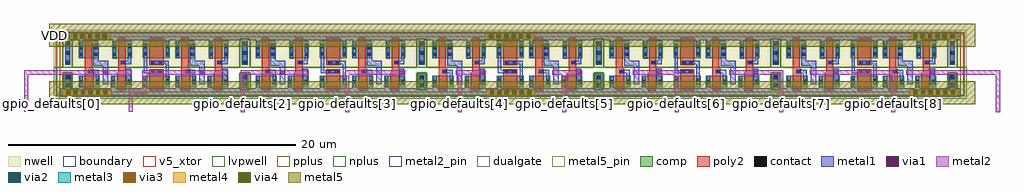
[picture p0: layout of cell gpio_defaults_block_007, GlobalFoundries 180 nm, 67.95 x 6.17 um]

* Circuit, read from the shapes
.subckt gpio_defaults_block_007 VDD VSS gpio_defaults[0] gpio_defaults[1] gpio_defaults[2] gpio_defaults[3] gpio_defaults[4] gpio_defaults[5] gpio_defaults[6] gpio_defaults[7] gpio_defaults[8] gpio_defaults[9]
XM1 n1 n1 VSS VSS nfet_05v0 w=0.82u l=0.6u
XM2 TIEL_7T5P0_3/ZN n2 VSS VSS nfet_05v0 w=0.82u l=0.6u
XM3 n3 n4 VSS VSS nfet_05v0 w=0.82u l=1u
XM4 n5 n5 VSS VSS nfet_05v0 w=0.82u l=0.6u
XM5 TIEL_7T5P0_5/ZN n6 VSS VSS nfet_05v0 w=0.82u l=0.6u
XM6 n7 n7 VSS VSS nfet_05v0 w=0.82u l=0.6u
XM7 TIEL_7T5P0_9/ZN n8 VSS VSS nfet_05v0 w=0.82u l=0.6u
XM8 n9 n10 VSS VSS nfet_05v0 w=0.82u l=1u
XM9 n11 n11 VSS VSS nfet_05v0 w=0.82u l=0.6u
XM10 gpio_defaults[3] n12 VSS VSS nfet_05v0 w=0.82u l=0.6u
XM11 n13 n13 VSS VSS nfet_05v0 w=0.82u l=0.6u
XM12 gpio_defaults[4] n14 VSS VSS nfet_05v0 w=0.82u l=0.6u
XM13 n15 n16 VSS VSS nfet_05v0 w=0.82u l=1u
XM14 n17 n17 VSS VSS nfet_05v0 w=0.82u l=0.6u
XM15 gpio_defaults[5] n18 VSS VSS nfet_05v0 w=0.82u l=0.6u
XM16 n19 n19 VSS VSS nfet_05v0 w=0.82u l=0.6u
XM17 gpio_defaults[6] n20 VSS VSS nfet_05v0 w=0.82u l=0.6u
XM18 n21 n22 VSS VSS nfet_05v0 w=0.82u l=1u
XM19 n23 n23 VSS VSS nfet_05v0 w=0.82u l=0.6u
XM20 gpio_defaults[7] n24 VSS VSS nfet_05v0 w=0.82u l=0.6u
XM21 n25 n25 VSS VSS nfet_05v0 w=0.82u l=0.6u
XM22 gpio_defaults[8] n26 VSS VSS nfet_05v0 w=0.82u l=0.6u
XM23 n27 n28 VSS VSS nfet_05v0 w=0.82u l=1u
XM24 n29 n29 VSS VSS nfet_05v0 w=0.82u l=0.6u
XM25 gpio_defaults[9] n30 VSS VSS nfet_05v0 w=0.82u l=0.6u
XM26 gpio_defaults[0] n1 VDD VDD pfet_05v0 w=1.22u l=0.5u
XM27 n2 n2 VDD VDD pfet_05v0 w=1.22u l=0.5u
XM28 VDD n3 n4 VDD pfet_05v0 w=1.22u l=1u
XM29 gpio_defaults[1] n5 VDD VDD pfet_05v0 w=1.22u l=0.5u
XM30 n6 n6 VDD VDD pfet_05v0 w=1.22u l=0.5u
XM31 gpio_defaults[2] n7 VDD VDD pfet_05v0 w=1.22u l=0.5u
XM32 n8 n8 VDD VDD pfet_05v0 w=1.22u l=0.5u
XM33 VDD n9 n10 VDD pfet_05v0 w=1.22u l=1u
XM34 TIEH_7T5P0_10/Z n11 VDD VDD pfet_05v0 w=1.22u l=0.5u
XM35 n12 n12 VDD VDD pfet_05v0 w=1.22u l=0.5u
XM36 TIEH_7T5P0_13/Z n13 VDD VDD pfet_05v0 w=1.22u l=0.5u
XM37 n14 n14 VDD VDD pfet_05v0 w=1.22u l=0.5u
XM38 VDD n15 n16 VDD pfet_05v0 w=1.22u l=1u
XM39 TIEH_7T5P0_16/Z n17 VDD VDD pfet_05v0 w=1.22u l=0.5u
XM40 n18 n18 VDD VDD pfet_05v0 w=1.22u l=0.5u
XM41 TIEH_7T5P0_19/Z n19 VDD VDD pfet_05v0 w=1.22u l=0.5u
XM42 n20 n20 VDD VDD pfet_05v0 w=1.22u l=0.5u
XM43 VDD n21 n22 VDD pfet_05v0 w=1.22u l=1u
XM44 TIEH_7T5P0_22/Z n23 VDD VDD pfet_05v0 w=1.22u l=0.5u
XM45 n24 n24 VDD VDD pfet_05v0 w=1.22u l=0.5u
XM46 TIEH_7T5P0_25/Z n25 VDD VDD pfet_05v0 w=1.22u l=0.5u
XM47 n26 n26 VDD VDD pfet_05v0 w=1.22u l=0.5u
XM48 VDD n27 n28 VDD pfet_05v0 w=1.22u l=1u
XM49 TIEH_7T5P0_28/Z n29 VDD VDD pfet_05v0 w=1.22u l=0.5u
XM50 n30 n30 VDD VDD pfet_05v0 w=1.22u l=0.5u
.ends

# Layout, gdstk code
import gdstk
lib = gdstk.Library(unit=1e-6, precision=1e-09)
def R(c, l, rs):  # rectangles x0, y0, x1, y1
    for r in rs: c.add(gdstk.rectangle(r[:2], r[2:], *l))
def A(c, l, x, y, w, h, nx, ny, dx, dy):  # array of equal rectangles
    R(c, l, [(x+i*dx, y+j*dy, x+i*dx+w, y+j*dy+h) for i in range(nx) for j in range(ny)])
def P(c, l, *ps):  # polygons
    for p in ps: c.add(gdstk.Polygon(p, *l))
boundary = (0, 0)
nwell = (21, 0)
comp = (22, 0)
poly2 = (30, 0)
pplus = (31, 0)
nplus = (32, 0)
contact = (33, 0)
metal1 = (34, 0)
via1 = (35, 0)
metal2 = (36, 0)
metal2_pin = (36, 10)
via2 = (38, 0)
via3 = (40, 0)
via4 = (41, 0)
metal3 = (42, 0)
metal4 = (46, 0)
dualgate = (55, 0)
metal5 = (81, 0)
metal5_pin = (81, 10)
v5_xtor = (112, 1)
lvpwell = (204, 0)

endcap_7t5p0 = lib.new_cell('ENDCAP_7T5P0')
R(endcap_7t5p0, boundary, [(0,0,1.12,3.92)])
R(endcap_7t5p0, nwell, [(-0.43,1.76,1.55,4.35)])
R(endcap_7t5p0, comp, [(0.28,0.28,0.8,1.28), (0.36,1.92,0.72,3.56)])
R(endcap_7t5p0, pplus, [(0.2,0.2,0.88,1.36)])
P(endcap_7t5p0, pplus, [(-0.2,1.76),(0.2,1.76),(0.2,3.72),(0.88,3.72),(0.88,1.76),(1.32,1.76),(1.32,4.12),(-0.2,4.12)])
P(endcap_7t5p0, nplus, [(-0.2,-0.2),(1.32,-0.2),(1.32,1.76),(0.88,1.76),(0.88,3.72),(0.88,1.36),(0.88,0.2),(0.2,0.2),(0.2,1.36),(0.88,1.36),(0.88,3.72),(0.2,3.72),(0.2,1.76),(-0.2,1.76)])
A(endcap_7t5p0, contact, 0.43, 1.99, 0.22, 0.22, 1, 3, 0, 0.64)
R(endcap_7t5p0, contact, [(0.43,0.4,0.65,0.62), (0.43,0.905,0.65,1.125)])
P(endcap_7t5p0, metal1, [(0,-0.3),(1.12,-0.3),(1.12,0.3),(0.71,0.3),(0.71,1.19),(0.37,1.19),(0.37,0.3),(0,0.3)],
  [(0,3.62),(0.37,3.62),(0.37,1.92),(0.71,1.92),(0.71,3.62),(1.12,3.62),(1.12,4.22),(0,4.22)])
R(endcap_7t5p0, dualgate, [(-0.28,-0.28,1.4,4.2)])
R(endcap_7t5p0, v5_xtor, [(0,0,1.12,3.92)])
R(endcap_7t5p0, lvpwell, [(-0.43,-0.43,1.55,1.76)])
endcap_7t5p0.add(gdstk.Label('VSS', (0.56,-0.01), layer=34, texttype=10))
endcap_7t5p0.add(gdstk.Label('VDD', (0.56,3.935), layer=34, texttype=10))
endcap_7t5p0.add(gdstk.Label('& Vendor GLOBALFOUNDRIES', (0,2), layer=63, texttype=63))
endcap_7t5p0.add(gdstk.Label('& Product GF018hv5v_mcu_sc7', (0,1.5), layer=63, texttype=63))
endcap_7t5p0.add(gdstk.Label('& Version 2015q2v1', (0,1), layer=63, texttype=63))
endcap_7t5p0.add(gdstk.Label('& Metric 1.00', (0,0.5), layer=63, texttype=63))

tieh_7t5p0 = lib.new_cell('TIEH_7T5P0')
R(tieh_7t5p0, boundary, [(0,0,2.24,3.92)])
R(tieh_7t5p0, nwell, [(-0.43,1.76,2.67,4.35)])
R(tieh_7t5p0, comp, [(0.185,0.34,1.665,1.16), (0.185,2.36,1.565,3.58)])
P(tieh_7t5p0, poly2, [(0.625,0.12),(1.225,0.12),(1.225,1.635),(1.125,1.635),(1.125,3.8),(0.625,3.8)])
R(tieh_7t5p0, pplus, [(-0.2,1.76,2.44,4.12)])
R(tieh_7t5p0, nplus, [(-0.2,-0.2,2.44,1.76)])
R(tieh_7t5p0, contact, [(0.255,0.635,0.475,0.855), (1.375,0.65,1.595,0.87), (0.935,1.345,1.155,1.565), (0.255,2.55,0.475,2.77), (1.275,2.55,1.495,2.77), (0.255,3.02,0.475,3.24), (1.275,3.02,1.495,3.24)])
R(tieh_7t5p0, metal1, [(1.22,2.305,1.58,3.39)])
P(tieh_7t5p0, metal1, [(0.875,1.335),(1.37,1.335),(1.37,0.53),(1.6,0.53),(1.6,1.57),(0.875,1.57)],
  [(0,-0.3),(2.24,-0.3),(2.24,0.3),(0.48,0.3),(0.48,1.16),(0.25,1.16),(0.25,0.3),(0,0.3)],
  [(0,3.62),(0.25,3.62),(0.25,2.36),(0.48,2.36),(0.48,3.62),(2.24,3.62),(2.24,4.22),(0,4.22)])
R(tieh_7t5p0, dualgate, [(-0.28,-0.28,2.52,4.2)])
R(tieh_7t5p0, v5_xtor, [(0,0,2.24,3.92)])
R(tieh_7t5p0, lvpwell, [(-0.43,-0.43,2.67,1.76)])
tieh_7t5p0.add(gdstk.Label('Z', (1.4,3.08), layer=34, texttype=10))
tieh_7t5p0.add(gdstk.Label('VDD', (1.12,3.935), layer=34, texttype=10))
tieh_7t5p0.add(gdstk.Label('VSS', (1.12,-0.03), layer=34, texttype=10))
tieh_7t5p0.add(gdstk.Label('& Vendor GLOBALFOUNDRIES', (0,2), layer=63, texttype=63))
tieh_7t5p0.add(gdstk.Label('& Product GF018hv5v_mcu_sc7', (0,1.5), layer=63, texttype=63))
tieh_7t5p0.add(gdstk.Label('& Version 2015q2v1', (0,1), layer=63, texttype=63))
tieh_7t5p0.add(gdstk.Label('& Metric 1.00', (0,0.5), layer=63, texttype=63))

fillcap_x4_7t5p0 = lib.new_cell('FILLCAP_X4_7T5P0')
R(fillcap_x4_7t5p0, boundary, [(0,0,2.24,3.92)])
R(fillcap_x4_7t5p0, nwell, [(-0.43,1.76,2.67,4.35)])
R(fillcap_x4_7t5p0, comp, [(0.18,0.34,2.06,1.16), (0.18,2.36,2.06,3.58)])
R(fillcap_x4_7t5p0, poly2, [(0.62,0.12,1.62,1.62), (0.62,1.875,1.62,3.8)])
R(fillcap_x4_7t5p0, pplus, [(-0.2,1.76,2.44,4.12)])
R(fillcap_x4_7t5p0, nplus, [(-0.2,-0.2,2.44,1.76)])
R(fillcap_x4_7t5p0, contact, [(0.25,0.735,0.47,0.955), (1.77,0.735,1.99,0.955), (0.765,1.33,0.985,1.55), (1.235,1.33,1.455,1.55), (0.805,1.965,1.025,2.185), (1.275,1.965,1.495,2.185), (0.25,2.59,0.47,2.81), (1.77,2.59,1.99,2.81), (0.25,3.06,0.47,3.28), (1.77,3.06,1.99,3.28)])
P(fillcap_x4_7t5p0, metal1, [(0.245,1.325),(1.52,1.325),(1.52,1.555),(0.475,1.555),(0.475,3.39),(0.245,3.39)],
  [(0.73,1.96),(1.765,1.96),(1.765,0.53),(1.995,0.53),(1.995,2.19),(0.73,2.19)],
  [(0,-0.3),(2.24,-0.3),(2.24,0.3),(0.475,0.3),(0.475,1.095),(0.245,1.095),(0.245,0.3),(0,0.3)],
  [(0,3.62),(1.765,3.62),(1.765,2.49),(1.995,2.49),(1.995,3.62),(2.24,3.62),(2.24,4.22),(0,4.22)])
R(fillcap_x4_7t5p0, dualgate, [(-0.28,-0.28,2.52,4.2)])
R(fillcap_x4_7t5p0, v5_xtor, [(0,0,2.24,3.92)])
R(fillcap_x4_7t5p0, lvpwell, [(-0.43,-0.43,2.67,1.76)])
fillcap_x4_7t5p0.add(gdstk.Label('VDD', (1.12,3.91), layer=34, texttype=10))
fillcap_x4_7t5p0.add(gdstk.Label('VSS', (1.12,-0.03), layer=34, texttype=10))
fillcap_x4_7t5p0.add(gdstk.Label('& Vendor GLOBALFOUNDRIES', (0,2), layer=63, texttype=63))
fillcap_x4_7t5p0.add(gdstk.Label('& Product GF018hv5v_mcu_sc7', (0,1.5), layer=63, texttype=63))
fillcap_x4_7t5p0.add(gdstk.Label('& Version 2015q2v1', (0,1), layer=63, texttype=63))
fillcap_x4_7t5p0.add(gdstk.Label('& Metric 1.00', (0,0.5), layer=63, texttype=63))

tiel_7t5p0 = lib.new_cell('TIEL_7T5P0')
R(tiel_7t5p0, boundary, [(0,0,2.24,3.92)])
R(tiel_7t5p0, nwell, [(-0.43,1.76,2.67,4.35)])
R(tiel_7t5p0, comp, [(0.18,0.34,1.66,1.16), (0.28,2.36,1.66,3.58)])
P(tiel_7t5p0, poly2, [(0.62,0.12),(1.22,0.12),(1.22,3.8),(0.72,3.8),(0.72,1.38),(0.62,1.38)])
R(tiel_7t5p0, pplus, [(-0.2,1.76,2.44,4.12)])
R(tiel_7t5p0, nplus, [(-0.2,-0.2,2.44,1.76)])
R(tiel_7t5p0, contact, [(0.25,0.65,0.47,0.87), (1.37,0.675,1.59,0.895), (0.93,1.955,1.15,2.175), (0.35,2.55,0.57,2.77), (1.37,2.55,1.59,2.77), (0.35,3.075,0.57,3.295), (1.37,3.075,1.59,3.295)])
R(tiel_7t5p0, metal1, [(1.22,0.53,1.595,1.65)])
P(tiel_7t5p0, metal1, [(0.87,1.95),(1.595,1.95),(1.595,3.39),(1.365,3.39),(1.365,2.185),(0.87,2.185)],
  [(0,-0.3),(2.24,-0.3),(2.24,0.3),(0.475,0.3),(0.475,1.16),(0.245,1.16),(0.245,0.3),(0,0.3)],
  [(0,3.62),(0.345,3.62),(0.345,2.345),(0.575,2.345),(0.575,3.62),(2.24,3.62),(2.24,4.22),(0,4.22)])
R(tiel_7t5p0, dualgate, [(-0.28,-0.28,2.52,4.2)])
R(tiel_7t5p0, v5_xtor, [(0,0,2.24,3.92)])
R(tiel_7t5p0, lvpwell, [(-0.43,-0.43,2.67,1.76)])
tiel_7t5p0.add(gdstk.Label('ZN', (1.4,0.84), layer=34, texttype=10))
tiel_7t5p0.add(gdstk.Label('VDD', (1.12,3.915), layer=34, texttype=10))
tiel_7t5p0.add(gdstk.Label('VSS', (1.12,-0.01), layer=34, texttype=10))
tiel_7t5p0.add(gdstk.Label('& Vendor GLOBALFOUNDRIES', (0,2), layer=63, texttype=63))
tiel_7t5p0.add(gdstk.Label('& Product GF018hv5v_mcu_sc7', (0,1.5), layer=63, texttype=63))
tiel_7t5p0.add(gdstk.Label('& Version 2015q2v1', (0,1), layer=63, texttype=63))
tiel_7t5p0.add(gdstk.Label('& Metric 1.00', (0,0.5), layer=63, texttype=63))

filltie_7t5p0 = lib.new_cell('FILLTIE_7T5P0')
R(filltie_7t5p0, boundary, [(0,0,1.12,3.92)])
R(filltie_7t5p0, nwell, [(-0.43,1.76,1.55,4.35)])
R(filltie_7t5p0, comp, [(0.28,0.28,0.84,1.28), (0.36,1.92,0.76,3.56)])
R(filltie_7t5p0, pplus, [(0.2,0.2,0.92,1.36)])
P(filltie_7t5p0, pplus, [(-0.2,1.76),(0.2,1.76),(0.2,3.72),(0.92,3.72),(0.92,1.76),(1.32,1.76),(1.32,4.12),(-0.2,4.12)])
P(filltie_7t5p0, nplus, [(-0.2,-0.2),(1.32,-0.2),(1.32,1.76),(0.92,1.76),(0.92,3.72),(0.92,1.36),(0.92,0.2),(0.2,0.2),(0.2,1.36),(0.92,1.36),(0.92,3.72),(0.2,3.72),(0.2,1.76),(-0.2,1.76)])
A(filltie_7t5p0, contact, 0.45, 1.99, 0.22, 0.22, 1, 3, 0, 0.64)
R(filltie_7t5p0, contact, [(0.45,0.4,0.67,0.62), (0.45,0.905,0.67,1.125)])
P(filltie_7t5p0, metal1, [(0,-0.3),(1.12,-0.3),(1.12,0.3),(0.73,0.3),(0.73,1.185),(0.39,1.185),(0.39,0.3),(0,0.3)],
  [(0,3.62),(0.39,3.62),(0.39,1.93),(0.73,1.93),(0.73,3.62),(1.12,3.62),(1.12,4.22),(0,4.22)])
R(filltie_7t5p0, dualgate, [(-0.28,-0.28,1.4,4.2)])
R(filltie_7t5p0, v5_xtor, [(0,0,1.12,3.92)])
R(filltie_7t5p0, lvpwell, [(-0.43,-0.43,1.55,1.76)])
filltie_7t5p0.add(gdstk.Label('VDD', (0.57,3.92), layer=34, texttype=10))
filltie_7t5p0.add(gdstk.Label('VSS', (0.57,0), layer=34, texttype=10))
filltie_7t5p0.add(gdstk.Label('& Vendor GLOBALFOUNDRIES', (0,2), layer=63, texttype=63))
filltie_7t5p0.add(gdstk.Label('& Product GF018hv5v_mcu_sc7', (0,1.5), layer=63, texttype=63))
filltie_7t5p0.add(gdstk.Label('& Version 2015q2v1', (0,1), layer=63, texttype=63))
filltie_7t5p0.add(gdstk.Label('& Metric 1.00', (0,0.5), layer=63, texttype=63))

gpio_defaults_block_007 = lib.new_cell('gpio_defaults_block_007')
A(gpio_defaults_block_007, pplus, 10.335, 3.57, 0.005, 1.58, 5, 1, 12.32, 0)
A(gpio_defaults_block_007, nplus, 10.335, 1.55, 0.005, 1.18, 5, 1, 12.32, 0)
A(gpio_defaults_block_007, metal1, 2.705, 1.245, 3.345, 0.3, 3, 1, 29.5, 0)
A(gpio_defaults_block_007, metal1, 2.66, 5.14, 3.345, 0.3, 3, 1, 29.5, 0)
R(gpio_defaults_block_007, metal1, [(7.075,1.92,7.45,3.04), (13.795,1.92,14.17,3.04), (19.395,1.92,19.77,3.04), (26.115,1.92,26.49,3.04), (31.715,1.92,32.09,3.04), (38.435,1.92,38.81,3.04), (44.035,1.92,44.41,3.04), (50.755,1.92,51.13,3.04), (56.355,1.92,56.73,3.04), (63.075,1.92,63.45,3.04), (5.485,1.97,5.86,3.24), (12.205,1.97,12.58,3.24), (17.805,1.97,18.18,3.24), (24.525,1.97,24.9,3.24), (30.125,1.97,30.5,3.24), (36.845,1.97,37.22,3.24), (42.445,1.97,42.82,3.24), (49.165,1.97,49.54,3.24), (54.765,1.97,55.14,3.24), (61.485,1.97,61.86,3.24), (4.835,3.24,5.86,3.6), (11.555,3.24,12.58,3.6), (17.155,3.24,18.18,3.6), (23.875,3.24,24.9,3.6), (29.475,3.24,30.5,3.6), (36.195,3.24,37.22,3.6), (41.795,3.24,42.82,3.6), (48.515,3.24,49.54,3.6), (54.115,3.24,55.14,3.6), (60.835,3.24,61.86,3.6), (4.835,3.6,5.195,3.695), (11.555,3.6,11.915,3.695), (17.155,3.6,17.515,3.695), (23.875,3.6,24.235,3.695), (29.475,3.6,29.835,3.695), (36.195,3.6,36.555,3.695), (41.795,3.6,42.155,3.695), (48.515,3.6,48.875,3.695), (54.115,3.6,54.475,3.695), (60.835,3.6,61.195,3.695)])
A(gpio_defaults_block_007, via1, 2.945, 1.265, 0.26, 0.26, 6, 1, 0.52, 0)
A(gpio_defaults_block_007, via1, 32.445, 1.265, 0.26, 0.26, 6, 1, 0.52, 0)
A(gpio_defaults_block_007, via1, 61.945, 1.265, 0.26, 0.26, 6, 1, 0.52, 0)
A(gpio_defaults_block_007, via1, 2.9, 5.16, 0.26, 0.26, 6, 1, 0.52, 0)
A(gpio_defaults_block_007, via1, 32.4, 5.16, 0.26, 0.26, 6, 1, 0.52, 0)
A(gpio_defaults_block_007, via1, 61.9, 5.16, 0.26, 0.26, 6, 1, 0.52, 0)
R(gpio_defaults_block_007, via1, [(5.54,2.655,5.8,2.915), (12.26,2.655,12.52,2.915), (17.86,2.655,18.12,2.915), (26.17,2.655,26.43,2.915), (31.77,2.655,32.03,2.915), (38.49,2.655,38.75,2.915), (44.09,2.655,44.35,2.915), (50.81,2.655,51.07,2.915), (56.41,2.655,56.67,2.915), (63.13,2.655,63.39,2.915)])
R(gpio_defaults_block_007, metal2, [(15.09,0,15.37,2.625), (22.37,0,22.65,2.625), (30.19,0,30.47,2.625), (37.47,0,37.75,2.625), (45.29,0,45.57,2.625), (52.57,0,52.85,2.625), (60.39,0,60.67,2.625), (67.67,0,67.95,2.625), (0,0.025,0.28,2.625), (7.28,0.025,7.56,1.29), (61.645,1.185,65.11,1.605), (2.645,1.19,6.11,1.605), (32.145,1.19,35.61,1.605), (7.28,1.29,8.56,1.61), (8.24,1.61,8.56,2.625), (0,2.625,7.515,2.945), (8.24,2.625,14.235,2.945), (15.09,2.625,19.835,2.945), (22.37,2.625,26.555,2.82), (30.06,2.625,32.155,2.945), (36.78,2.625,38.875,2.945), (42.38,2.625,45.57,2.945), (49.1,2.625,52.85,2.945), (54.7,2.625,60.67,2.945), (61.42,2.625,67.95,2.945), (22.375,2.82,26.555,2.945), (2.595,5.08,6.075,5.495), (32.1,5.08,35.575,5.495), (61.6,5.08,65.075,5.495)])
R(gpio_defaults_block_007, metal2_pin, [(15.09,0,15.37,1.17), (22.37,0,22.65,1.17), (30.19,0,30.47,1.17), (37.47,0,37.75,1.17), (45.29,0,45.57,1.17), (52.57,0,52.85,1.17), (60.39,0,60.67,1.17), (67.67,0,67.95,1.17), (0,0.025,0.28,1.195), (7.28,0.025,7.56,1.195)])
A(gpio_defaults_block_007, via2, 2.945, 1.265, 0.26, 0.26, 6, 1, 0.52, 0)
A(gpio_defaults_block_007, via2, 32.445, 1.265, 0.26, 0.26, 6, 1, 0.52, 0)
A(gpio_defaults_block_007, via2, 61.945, 1.265, 0.26, 0.26, 6, 1, 0.52, 0)
A(gpio_defaults_block_007, via2, 2.9, 5.16, 0.26, 0.26, 6, 1, 0.52, 0)
A(gpio_defaults_block_007, via2, 32.4, 5.16, 0.26, 0.26, 6, 1, 0.52, 0)
A(gpio_defaults_block_007, via2, 61.9, 5.16, 0.26, 0.26, 6, 1, 0.52, 0)
A(gpio_defaults_block_007, via3, 2.945, 1.265, 0.26, 0.26, 6, 1, 0.52, 0)
A(gpio_defaults_block_007, via3, 32.445, 1.265, 0.26, 0.26, 6, 1, 0.52, 0)
A(gpio_defaults_block_007, via3, 61.945, 1.265, 0.26, 0.26, 6, 1, 0.52, 0)
A(gpio_defaults_block_007, via3, 2.9, 5.16, 0.26, 0.26, 6, 1, 0.52, 0)
A(gpio_defaults_block_007, via3, 32.4, 5.16, 0.26, 0.26, 6, 1, 0.52, 0)
A(gpio_defaults_block_007, via3, 61.9, 5.16, 0.26, 0.26, 6, 1, 0.52, 0)
A(gpio_defaults_block_007, via4, 2.945, 1.265, 0.26, 0.26, 6, 1, 0.52, 0)
A(gpio_defaults_block_007, via4, 32.445, 1.265, 0.26, 0.26, 6, 1, 0.52, 0)
A(gpio_defaults_block_007, via4, 61.945, 1.265, 0.26, 0.26, 6, 1, 0.52, 0)
A(gpio_defaults_block_007, via4, 2.9, 5.16, 0.26, 0.26, 6, 1, 0.52, 0)
A(gpio_defaults_block_007, via4, 32.4, 5.16, 0.26, 0.26, 6, 1, 0.52, 0)
A(gpio_defaults_block_007, via4, 61.9, 5.16, 0.26, 0.26, 6, 1, 0.52, 0)
R(gpio_defaults_block_007, metal3, [(61.645,1.185,65.11,1.605), (2.645,1.19,6.11,1.605), (32.145,1.19,35.61,1.605), (2.595,5.08,6.075,5.495), (32.1,5.08,35.575,5.495), (61.6,5.08,65.075,5.495)])
R(gpio_defaults_block_007, metal4, [(61.645,1.185,65.11,1.605), (2.645,1.19,6.11,1.605), (32.145,1.19,35.61,1.605), (2.595,5.08,6.075,5.495), (32.1,5.08,35.575,5.495), (61.6,5.08,65.075,5.495)])
A(gpio_defaults_block_007, dualgate, 10.055, 1.39, 0.565, 0.07, 5, 1, 12.32, 0)
A(gpio_defaults_block_007, dualgate, 14.135, 1.4, 0.69, 0.06, 5, 1, 12.32, 0)
A(gpio_defaults_block_007, dualgate, 15.925, 1.4, 0.295, 0.06, 4, 1, 12.32, 0)
A(gpio_defaults_block_007, dualgate, 7.785, 1.46, 0.22, 1.69, 5, 1, 12.32, 0)
A(gpio_defaults_block_007, dualgate, 14.505, 1.46, 0.32, 1.69, 5, 1, 12.32, 0)
R(gpio_defaults_block_007, dualgate, [(3.565,1.4,3.9,1.46), (5.55,1.46,5.765,3.15), (12.27,1.46,12.485,3.15), (17.87,1.46,18.085,3.15), (24.59,1.46,24.805,3.15), (30.19,1.46,30.405,3.15), (36.91,1.46,37.125,3.15), (42.51,1.46,42.725,3.15), (49.23,1.46,49.445,3.15), (54.83,1.46,55.045,3.15), (61.55,1.46,61.765,3.15)])
R(gpio_defaults_block_007, metal5, [(1.755,0.575,66.235,2.175), (1.755,4.575,66.235,6.175)])
R(gpio_defaults_block_007, metal5_pin, [(1.755,0.575,2.45,2.175), (1.755,4.575,2.45,6.175)])
gpio_defaults_block_007.add(gdstk.Reference(endcap_7t5p0, (2.495,1.39)))
gpio_defaults_block_007.add(gdstk.Reference(tieh_7t5p0, (3.615,1.39)))
gpio_defaults_block_007.add(gdstk.Reference(fillcap_x4_7t5p0, (8.095,1.39)))
gpio_defaults_block_007.add(gdstk.Reference(tiel_7t5p0, (5.855,1.39)))
gpio_defaults_block_007.add(gdstk.Reference(tieh_7t5p0, (10.335,1.39)))
gpio_defaults_block_007.add(gdstk.Reference(tiel_7t5p0, (12.575,1.39)))
gpio_defaults_block_007.add(gdstk.Reference(filltie_7t5p0, (14.815,1.39)))
gpio_defaults_block_007.add(gdstk.Reference(tieh_7t5p0, (15.935,1.39)))
gpio_defaults_block_007.add(gdstk.Reference(fillcap_x4_7t5p0, (20.415,1.39)))
gpio_defaults_block_007.add(gdstk.Reference(tiel_7t5p0, (18.175,1.39)))
gpio_defaults_block_007.add(gdstk.Reference(tieh_7t5p0, (22.655,1.39)))
gpio_defaults_block_007.add(gdstk.Reference(tiel_7t5p0, (24.895,1.39)))
gpio_defaults_block_007.add(gdstk.Reference(filltie_7t5p0, (27.135,1.39)))
gpio_defaults_block_007.add(gdstk.Reference(tieh_7t5p0, (28.255,1.39)))
gpio_defaults_block_007.add(gdstk.Reference(fillcap_x4_7t5p0, (32.735,1.39)))
gpio_defaults_block_007.add(gdstk.Reference(tiel_7t5p0, (30.495,1.39)))
gpio_defaults_block_007.add(gdstk.Reference(tieh_7t5p0, (34.975,1.39)))
gpio_defaults_block_007.add(gdstk.Reference(tiel_7t5p0, (37.215,1.39)))
gpio_defaults_block_007.add(gdstk.Reference(filltie_7t5p0, (39.455,1.39)))
gpio_defaults_block_007.add(gdstk.Reference(tieh_7t5p0, (40.575,1.39)))
gpio_defaults_block_007.add(gdstk.Reference(tiel_7t5p0, (42.815,1.39)))
gpio_defaults_block_007.add(gdstk.Reference(fillcap_x4_7t5p0, (45.055,1.39)))
gpio_defaults_block_007.add(gdstk.Reference(tieh_7t5p0, (47.295,1.39)))
gpio_defaults_block_007.add(gdstk.Reference(tiel_7t5p0, (49.535,1.39)))
gpio_defaults_block_007.add(gdstk.Reference(filltie_7t5p0, (51.775,1.39)))
gpio_defaults_block_007.add(gdstk.Reference(tieh_7t5p0, (52.895,1.39)))
gpio_defaults_block_007.add(gdstk.Reference(tiel_7t5p0, (55.135,1.39)))
gpio_defaults_block_007.add(gdstk.Reference(fillcap_x4_7t5p0, (57.375,1.39)))
gpio_defaults_block_007.add(gdstk.Reference(tieh_7t5p0, (59.615,1.39)))
gpio_defaults_block_007.add(gdstk.Reference(endcap_7t5p0, (64.095,1.39)))
gpio_defaults_block_007.add(gdstk.Reference(tiel_7t5p0, (61.855,1.39)))
gpio_defaults_block_007.add(gdstk.Label('gpio_defaults[0]', (0.14,0.61), layer=36, texttype=10))
gpio_defaults_block_007.add(gdstk.Label('gpio_defaults[1]', (7.42,0.61), layer=36, texttype=10))
gpio_defaults_block_007.add(gdstk.Label('gpio_defaults[2]', (15.23,0.585), layer=36, texttype=10))
gpio_defaults_block_007.add(gdstk.Label('gpio_defaults[3]', (22.51,0.585), layer=36, texttype=10))
gpio_defaults_block_007.add(gdstk.Label('gpio_defaults[4]', (30.33,0.585), layer=36, texttype=10))
gpio_defaults_block_007.add(gdstk.Label('gpio_defaults[5]', (37.61,0.585), layer=36, texttype=10))
gpio_defaults_block_007.add(gdstk.Label('gpio_defaults[6]', (45.43,0.585), layer=36, texttype=10))
gpio_defaults_block_007.add(gdstk.Label('gpio_defaults[7]', (52.71,0.585), layer=36, texttype=10))
gpio_defaults_block_007.add(gdstk.Label('gpio_defaults[8]', (60.53,0.585), layer=36, texttype=10))
gpio_defaults_block_007.add(gdstk.Label('gpio_defaults[9]', (67.81,0.585), layer=36, texttype=10))
gpio_defaults_block_007.add(gdstk.Label('VDD', (2.102,5.375), layer=81, texttype=10))
gpio_defaults_block_007.add(gdstk.Label('VSS', (2.102,1.375), layer=81, texttype=10))

lib.write_gds('gpio_defaults_block_007.gds')
